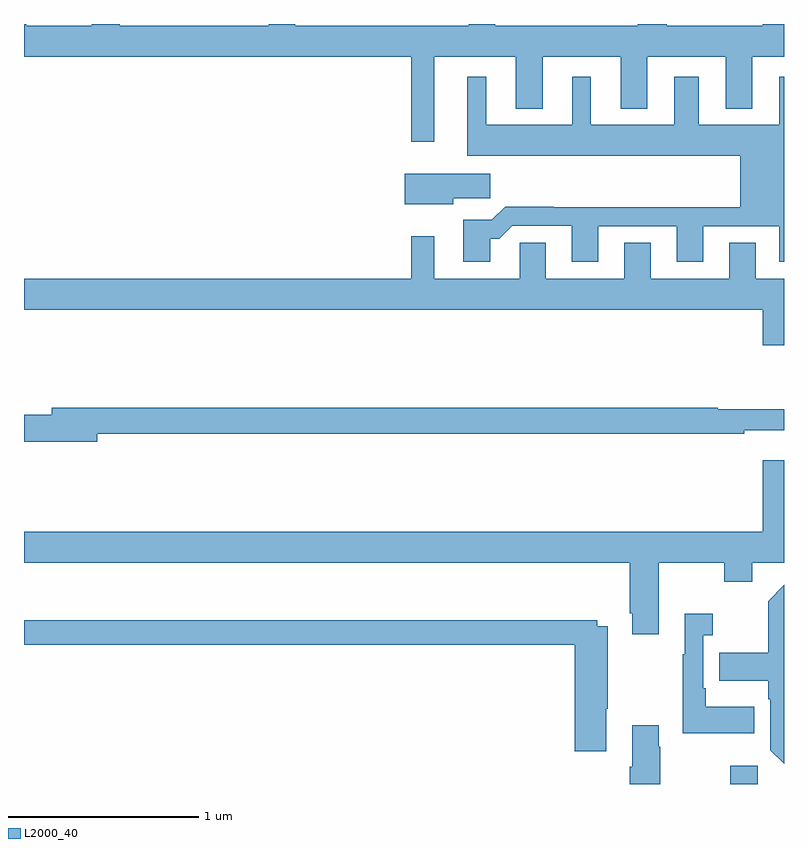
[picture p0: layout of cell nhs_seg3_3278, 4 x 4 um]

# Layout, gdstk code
import gdstk
lib = gdstk.Library(unit=1e-6, precision=1e-09)
def R(c, l, rs):  # rectangles x0, y0, x1, y1
    for r in rs: c.add(gdstk.rectangle(r[:2], r[2:], *l))
def P(c, l, *ps):  # polygons
    for p in ps: c.add(gdstk.Polygon(p, *l))
L2000_40 = (2000, 40)

nhs_seg3_3278 = lib.new_cell('nhs_seg3_3278')
R(nhs_seg3_3278, L2000_40, [(284.716,718.4,284.862,718.495)])
P(nhs_seg3_3278, L2000_40, [(283.479,722.4),(283.341,722.4),(283.341,722.392),(282.427,722.392),(282.427,722.4),(282.287,722.4),(282.287,722.392),(281.503,722.392),(281.503,722.4),(281.356,722.4),(281.356,722.392),(281.011,722.392),(281.011,722.4),(281,722.4),(281,722.228),(283.038,722.228),(283.038,721.779),(283.159,721.779),(283.159,722.228),(283.589,722.228),(283.589,721.955),(283.729,721.955),(283.729,722.228),(284.141,722.228),(284.141,721.955),(284.281,721.955),(284.281,722.228),(284.693,722.228),(284.693,721.955),(284.833,721.955),(284.833,722.228),(285,722.228),(285,722.4),(284.888,722.4),(284.888,722.392),(284.384,722.392),(284.384,722.4),(284.231,722.4),(284.231,722.392),(283.479,722.392)],
  [(283.453,721.271),(283.502,721.271),(283.569,721.338),(283.883,721.338),(283.883,721.149),(284.023,721.149),(284.023,721.335),(284.435,721.335),(284.435,721.149),(284.575,721.149),(284.575,721.335),(284.975,721.335),(284.975,721.149),(285,721.149),(285,722.122),(284.975,722.122),(284.975,721.87),(284.551,721.87),(284.551,722.122),(284.423,722.122),(284.423,721.87),(283.984,721.87),(283.984,722.122),(283.886,722.122),(283.886,721.87),(283.432,721.87),(283.432,722.122),(283.334,722.122),(283.334,721.706),(284.771,721.706),(284.771,721.436),(283.787,721.436),(283.787,721.439),(283.532,721.439),(283.462,721.369),(283.313,721.369),(283.313,721.149),(283.453,721.149)],
  [(283.258,721.483),(283.453,721.483),(283.453,721.612),(283.004,721.612),(283.004,721.451),(283.258,721.451)],
  [(285,721.06),(284.851,721.06),(284.851,721.25),(284.711,721.25),(284.711,721.06),(284.299,721.06),(284.299,721.25),(284.159,721.25),(284.159,721.06),(283.747,721.06),(283.747,721.25),(283.608,721.25),(283.608,721.06),(283.159,721.06),(283.159,721.282),(283.038,721.282),(283.038,721.06),(281,721.06),(281,720.896),(284.888,720.896),(284.888,720.708),(285,720.708)],
  [(281.386,720.244),(284.792,720.244),(284.792,720.263),(285,720.263),(285,720.373),(284.651,720.373),(284.651,720.38),(281.147,720.38),(281.147,720.344),(281,720.344),(281,720.202),(281.386,720.202)],
  [(284.341,719.564),(284.686,719.564),(284.686,719.465),(284.833,719.465),(284.833,719.564),(285,719.564),(285,720.103),(284.888,720.103),(284.888,719.728),(281,719.728),(281,719.564),(284.189,719.564),(284.189,719.299),(284.201,719.299),(284.201,719.187),(284.341,719.187)],
  [(285,719.448),(284.916,719.363),(284.916,719.091),(284.659,719.091),(284.659,718.943),(284.916,718.943),(284.916,718.847),(284.928,718.847),(284.928,718.578),(285,718.506)],
  [(284.843,718.807),(284.587,718.807),(284.587,718.903),(284.574,718.903),(284.574,719.183),(284.626,719.183),(284.626,719.296),(284.477,719.296),(284.477,719.083),(284.466,719.083),(284.466,718.667),(284.843,718.667)],
  [(284.065,718.795),(284.073,718.795),(284.073,719.23),(284.016,719.23),(284.016,719.263),(281,719.263),(281,719.134),(283.898,719.134),(283.898,718.572),(284.065,718.572)],
  [(284.349,718.595),(284.341,718.595),(284.341,718.708),(284.201,718.708),(284.201,718.492),(284.189,718.492),(284.189,718.4),(284.349,718.4)])

lib.write_gds('nhs_seg3_3278.gds')
